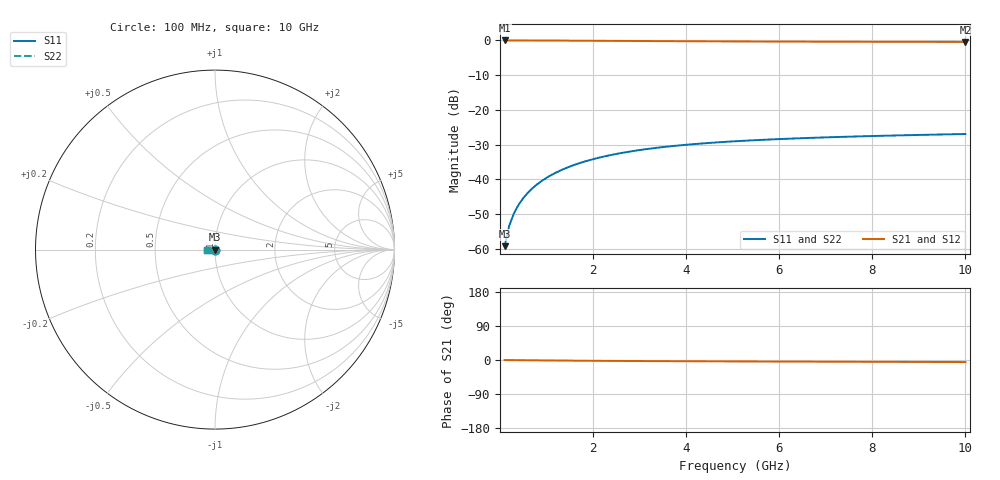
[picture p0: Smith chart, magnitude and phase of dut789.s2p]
! Touchstone file exported from HFSS 2024.1.0
!  File:  C:/UserFiles/LocalFiles/RDL_TSV_Batchsim/temp_TSV1_789_1779875232.aedt
!  Generated:  05:53:59 PM May 27, 2026
!  Design:  TSV1
!  Project:  temp_TSV1_789_1779875232
!  Setup:  Setup1
!  Solution:  Sweep
! Variables:
!  dtsv = 8.12um
!  hbump = 3um
!  htsv = 86.12um
!  lrdl = 252.1521522um
!  p = 40
!  p1 = 41.77um
!  t = 500um
!  trdl = 3um
!  wrdl = 24.89489489um
# GHz S MA R 50.000000
! Terminal data exported
! Port[1] = TSV22_T1
! Port[2] = TSV22_T2
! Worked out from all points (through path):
!   100 points, 100 MHz to 10 GHz, reference 50 ohm
!   highest |S21| = 0.00 dB at 100 MHz (marker M1); lowest = -0.4 dB at 10 GHz (marker M2)
!   lowest |S11| = -59.2 dB at 100 MHz (marker M3), VSWR 1.00, Z = 50 - j0.108 ohm
!   |S11| at or under -10 dB: start of sweep to end of sweep
!   |S22| runs from -59.2 to -26.9 dB; largest |S21 - S12| = 3.2e-15
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0.1  0.001097 -79.4  0.9997 -0.1  0.9997 -0.1  0.001097 -79.4
! Gamma 0 0 0 0
! Port Impedance 50 0 50 0
0.2  0.002169 -86.8  0.9996 -0.2  0.9996 -0.2  0.002169 -86.8
0.3  0.003247 -90.4  0.9995 -0.4  0.9995 -0.4  0.003247 -90.4
0.4  0.004323 -93.1  0.9992 -0.5  0.9992 -0.5  0.004323 -93.1
0.5  0.005391 -95.3  0.999 -0.6  0.999 -0.6  0.005391 -95.3
0.6  0.00645 -97.4  0.9986 -0.7  0.9986 -0.7  0.00645 -97.4
0.7  0.007498 -99.3  0.9982 -0.8  0.9982 -0.8  0.007498 -99.3
0.8  0.008533 -101.1  0.9978 -0.9  0.9978 -0.9  0.008533 -101.1
0.9  0.009555 -102.8  0.9973 -1.0  0.9973 -1.0  0.009555 -102.8
1.1  0.01155 -106.1  0.9962 -1.2  0.9962 -1.2  0.01155 -106.1
1.4  0.01441 -110.8  0.9943 -1.5  0.9943 -1.5  0.01441 -110.8
1.6  0.01622 -113.8  0.9929 -1.7  0.9929 -1.7  0.01622 -113.8
1.8  0.01794 -116.7  0.9913 -1.9  0.9913 -1.9  0.01794 -116.7
2.1  0.02036 -120.9  0.989 -2.1  0.989 -2.1  0.02036 -120.9
2.5  0.02329 -126.0  0.9857 -2.4  0.9857 -2.4  0.02329 -126.0
2.9  0.02588 -130.8  0.9825 -2.7  0.9825 -2.7  0.02588 -130.8
3.4  0.0287 -136.2  0.9787 -3.0  0.9787 -3.0  0.0287 -136.2
4.2  0.03238 -144.0  0.9732 -3.4  0.9732 -3.4  0.03238 -144.0
5.1  0.03559 -151.4  0.968 -3.7  0.968 -3.7  0.03559 -151.4
6.7  0.03971 -162.2  0.9611 -4.3  0.9611 -4.3  0.03971 -162.2
8.4  0.0428 -171.4  0.956 -4.9  0.956 -4.9  0.0428 -171.4
10  0.04508 -178.6  0.9527 -5.4  0.9527 -5.4  0.04508 -178.6
